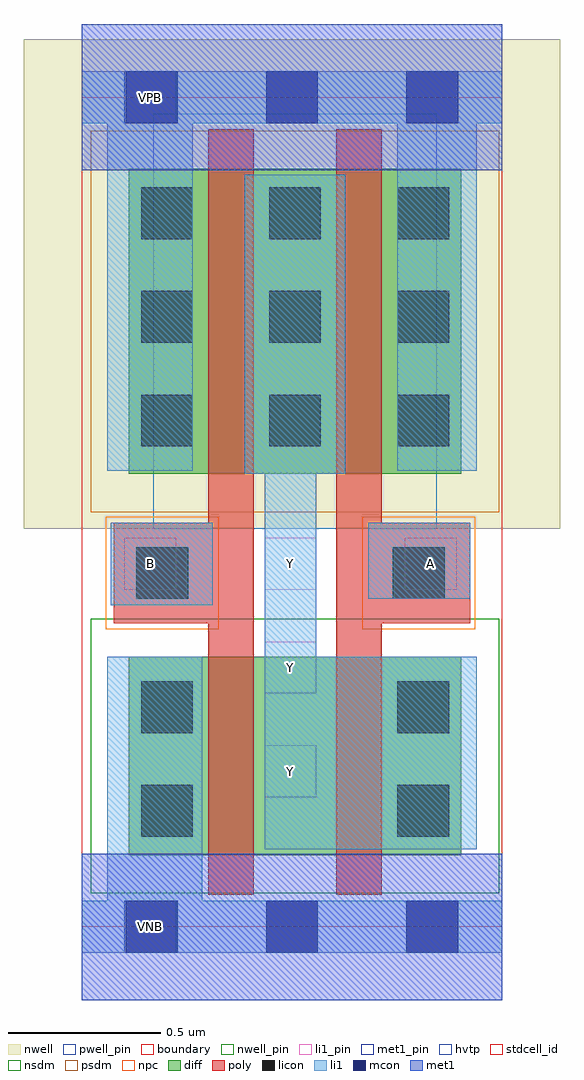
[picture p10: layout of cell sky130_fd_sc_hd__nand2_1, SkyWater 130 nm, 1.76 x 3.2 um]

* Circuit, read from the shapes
.subckt sky130_fd_sc_hd__nand2_1 A B VGND VNB VPB VPWR Y
XM1 n1 B VGND VNB sky130_fd_pr__nfet_01v8 w=0.65 l=0.15
XM2 Y A n1 VNB sky130_fd_pr__nfet_01v8 w=0.65 l=0.15
XM3 Y B VPWR VPB sky130_fd_pr__pfet_01v8_hvt w=1 l=0.15
XM4 VPWR A Y VPB sky130_fd_pr__pfet_01v8_hvt w=1 l=0.15
.ends

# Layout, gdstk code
import gdstk
lib = gdstk.Library(unit=1e-6, precision=1e-09)
def R(c, l, rs):  # rectangles x0, y0, x1, y1
    for r in rs: c.add(gdstk.rectangle(r[:2], r[2:], *l))
def A(c, l, x, y, w, h, nx, ny, dx, dy):  # array of equal rectangles
    R(c, l, [(x+i*dx, y+j*dy, x+i*dx+w, y+j*dy+h) for i in range(nx) for j in range(ny)])
nwell_pin = (64, 16)
nwell = (64, 20)
diff = (65, 20)
poly = (66, 20)
licon = (66, 44)
li1_pin = (67, 16)
li1 = (67, 20)
mcon = (67, 44)
met1_pin = (68, 16)
met1 = (68, 20)
hvtp = (78, 44)
stdcell_id = (81, 4)
nsdm = (93, 44)
psdm = (94, 20)
npc = (95, 20)
pwell_pin = (122, 16)
boundary = (235, 4)

sky130_fd_sc_hd__nand2_1 = lib.new_cell('sky130_fd_sc_hd__nand2_1')
R(sky130_fd_sc_hd__nand2_1, nwell_pin, [(0.14,2.635,0.31,2.805)])
R(sky130_fd_sc_hd__nand2_1, nwell, [(-0.19,1.305,1.57,2.91)])
R(sky130_fd_sc_hd__nand2_1, diff, [(0.155,0.235,1.245,0.885), (0.155,1.485,1.245,2.485)])
R(sky130_fd_sc_hd__nand2_1, poly, [(0.415,0.105,0.565,0.995), (0.835,0.105,0.985,0.995), (0.105,0.995,0.565,1.325), (0.835,0.995,1.275,1.325), (0.415,1.325,0.565,2.615), (0.835,1.325,0.985,2.615)])
A(sky130_fd_sc_hd__nand2_1, licon, 0.195, 1.575, 0.17, 0.17, 3, 3, 0.42, 0.34)
R(sky130_fd_sc_hd__nand2_1, licon, [(0.195,0.295,0.365,0.465), (1.035,0.295,1.205,0.465), (0.195,0.635,0.365,0.805), (1.035,0.635,1.205,0.805), (0.18,1.075,0.35,1.245), (1.02,1.075,1.19,1.245)])
A(sky130_fd_sc_hd__nand2_1, li1_pin, 0.14, 1.105, 0.17, 0.17, 3, 1, 0.46, 0)
R(sky130_fd_sc_hd__nand2_1, li1_pin, [(0.6,0.425,0.77,0.595), (0.6,0.765,0.77,0.935)])
R(sky130_fd_sc_hd__nand2_1, li1, [(0,-0.085,1.38,0.085), (0.085,0.085,0.395,0.885), (0.6,0.255,1.295,0.885), (0.6,0.885,0.77,1.485), (0.095,1.055,0.43,1.325), (0.94,1.075,1.275,1.325), (0.535,1.485,0.865,2.465), (0.085,1.495,0.365,2.635), (1.035,1.495,1.295,2.635), (0,2.635,1.38,2.805)])
A(sky130_fd_sc_hd__nand2_1, mcon, 0.145, -0.085, 0.17, 0.17, 3, 2, 0.46, 2.72)
R(sky130_fd_sc_hd__nand2_1, met1_pin, [(0.14,-0.085,0.31,0.085), (0.14,2.635,0.31,2.805)])
R(sky130_fd_sc_hd__nand2_1, met1, [(0,-0.24,1.38,0.24), (0,2.48,1.38,2.96)])
R(sky130_fd_sc_hd__nand2_1, hvtp, [(0.235,1.305,1.165,2.665)])
R(sky130_fd_sc_hd__nand2_1, stdcell_id, [(0,0,1.38,2.72)])
R(sky130_fd_sc_hd__nand2_1, nsdm, [(0.03,0.11,1.37,1.01)])
R(sky130_fd_sc_hd__nand2_1, psdm, [(0.03,1.36,1.37,2.61)])
R(sky130_fd_sc_hd__nand2_1, npc, [(0.08,0.975,0.45,1.345), (0.92,0.975,1.29,1.345)])
R(sky130_fd_sc_hd__nand2_1, pwell_pin, [(0.14,-0.085,0.31,0.085)])
R(sky130_fd_sc_hd__nand2_1, boundary, [(0,0,1.38,2.72)])
sky130_fd_sc_hd__nand2_1.add(gdstk.Label('VPB', (0.225,2.72), layer=64, texttype=5))
sky130_fd_sc_hd__nand2_1.add(gdstk.Label('VNB', (0.225,0), layer=64, texttype=59))
sky130_fd_sc_hd__nand2_1.add(gdstk.Label('VGND', (0.225,0), layer=68, texttype=5))
sky130_fd_sc_hd__nand2_1.add(gdstk.Label('VPWR', (0.225,2.72), layer=68, texttype=5))
sky130_fd_sc_hd__nand2_1.add(gdstk.Label('A', (1.145,1.19), layer=67, texttype=5))
sky130_fd_sc_hd__nand2_1.add(gdstk.Label('Y', (0.685,1.19), layer=67, texttype=5))
sky130_fd_sc_hd__nand2_1.add(gdstk.Label('Y', (0.685,0.85), layer=67, texttype=5))
sky130_fd_sc_hd__nand2_1.add(gdstk.Label('Y', (0.685,0.51), layer=67, texttype=5))
sky130_fd_sc_hd__nand2_1.add(gdstk.Label('B', (0.225,1.19), layer=67, texttype=5))

lib.write_gds('sky130_fd_sc_hd__nand2_1.gds')
